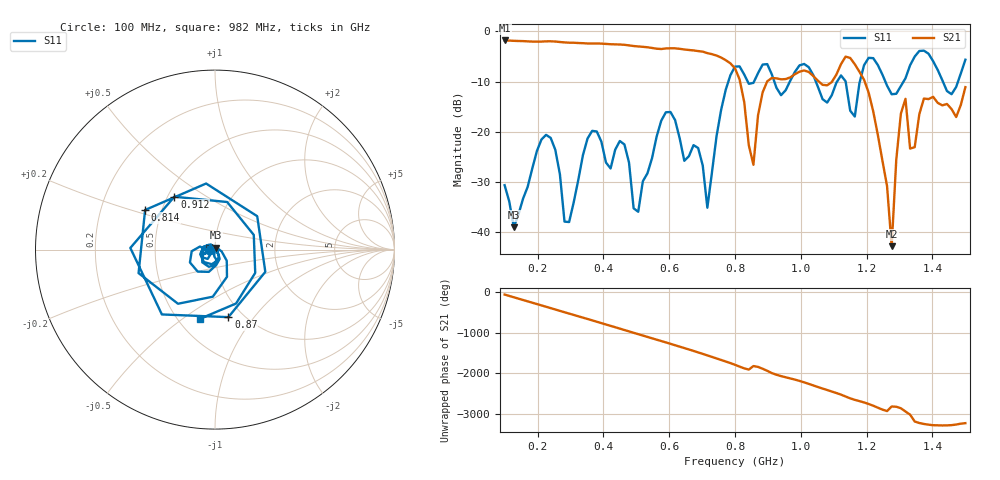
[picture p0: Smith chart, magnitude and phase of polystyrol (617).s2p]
! NanoVNA-App
! Date: 2025-09-25 15:34:41
! Start: 100MHz Stop: 1,5GHz Points: 101
! S-Parameter data: F S11 S21 S12 S22
# Hz S RI R 50
!  Frequency  S11_Real  S11_Imag  S21_Real  S21_Imag  S12_Real  S12_Imag  S22_Real  S22_Imag
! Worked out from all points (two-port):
!   101 points, 100 MHz to 1.5 GHz, reference 50 ohm
!   highest |S21| = -1.80 dB at 100 MHz (marker M1); lowest = -42.9 dB at 1.276 GHz (marker M2)
!   |S21| within 3 dB of the highest: start of sweep to 743 MHz
!   lowest |S11| = -39.1 dB at 128 MHz (marker M3), VSWR 1.02, Z = 50.3 + j1.06 ohm
!   |S11| at or under -10 dB: start of sweep to 779.9 MHz; 1.046 GHz to 1.11 GHz (64.77 MHz wide, 6.01 % of centre); 1.257 GHz to 1.312 GHz (55.39 MHz wide, 4.31 % of centre) (the widest 3 of 7)
!   S12 and S22 are empty: the file has one direction only
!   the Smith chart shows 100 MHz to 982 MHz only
!   S11 on the Smith chart (normalised r, x): 100 MHz: 0.94, -0.01; 814 MHz: 0.40, +0.22; 870 MHz: 0.85, -0.75; 912 MHz: 0.54, +0.37; 982 MHz: 0.64, -0.58
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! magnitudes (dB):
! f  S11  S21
! 100 MHz  -30.7  -1.8
! 128 MHz  -39.1  -1.9
! 212 MHz  -21.6  -2.0
! 282 MHz  -38.0  -2.2
! 338 MHz  -24.7  -2.3
! 464 MHz  -22.6  -2.7
! 506 MHz  -36.0  -3.0
! 576 MHz  -17.8  -3.5
! 716 MHz  -35.2  -4.3
! 800 MHz  -7.0  -7.4
! 814 MHz  -7.0  -9.6
! 856 MHz  -10.3  -26.6
! 870 MHz  -8.3  -16.7
! 912 MHz  -8.6  -9.3
! 982 MHz  -8.1  -8.5
! 1.038 GHz  -8.7  -8.9
! 1.164 GHz  -17.0  -6.5
! 1.192 GHz  -6.8  -9.6
! 1.276 GHz  -12.5  -42.9
! 1.318 GHz  -9.3  -13.5
! 1.332 GHz  -6.7  -23.4
! 1.5 GHz  -5.6  -11.1
